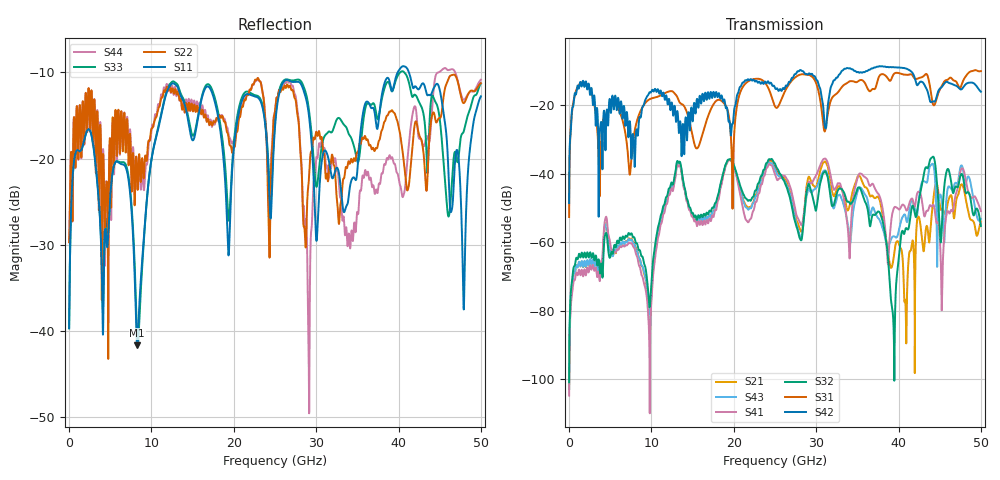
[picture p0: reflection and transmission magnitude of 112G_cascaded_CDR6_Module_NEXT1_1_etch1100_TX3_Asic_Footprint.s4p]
! Created Wed Feb 27 12:13:21 2019
# hz S ma R 50
! 4 Port Network Data from SP1.SP block
! freq  magS11  angS11  magS12  angS12  magS13  angS13  magS14  angS14
!  magS21  angS21  magS22  angS22  magS23  angS23  magS24  angS24
!  magS31  angS31  magS32  angS32  magS33  angS33  magS34  angS34
!  magS41  angS41  magS42  angS42  magS43  angS43  magS44  angS44
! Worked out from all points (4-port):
!   5000 points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, 10 MHz to 50 GHz, reference 50 ohm
!   strongest paths, dB at 10 MHz, 12.51 GHz, 25.01 GHz, 37.51 GHz, 50 GHz:
!     S42: -48.6, -19.6, -15.1, -8.8, -16.1
!     S31: -52.7, -16.0, -20.4, -12.4, -10.1
!     S32: -100.9, -42.9, -37.1, -51.1, -55.3
!     S41: -104.8, -44.7, -40.1, -45.8, -50.9
!     S43: -102.9, -44.0, -38.8, -52.9, -53.2
!     S21: -102.9, -43.6, -38.0, -46.8, -54.0
!   lowest |S11| = -41.7 dB at 8.27 GHz (marker M1), VSWR 1.02, Z = 49.5 - j0.687 ohm
!   |S11| at or under -10 dB: start of sweep to 39.89 GHz; 41.27 GHz to end of sweep
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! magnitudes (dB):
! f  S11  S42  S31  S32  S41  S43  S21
! 10 MHz  -39.7  -48.6  -52.7  -100.9  -104.8  -102.9  -102.9
! 1.36 GHz  -19.1  -13.3  -13.7  -64.4  -69.5  -67.0  -67.0
! 8.27 GHz  -41.7  -27.8  -24.5  -60.5  -64.3  -62.7  -62.5
! 12.46 GHz  -11.3  -19.3  -16.0  -42.6  -44.3  -43.6  -43.4
! 39.36 GHz  -11.9  -9.0  -11.2  -82.6  -50.6  -58.3  -65.4
! 44.02 GHz  -12.4  -19.1  -17.9  -35.4  -49.6  -37.4  -52.2
! 50 GHz  -12.8  -16.1  -10.1  -55.3  -50.9  -53.2  -54.0
